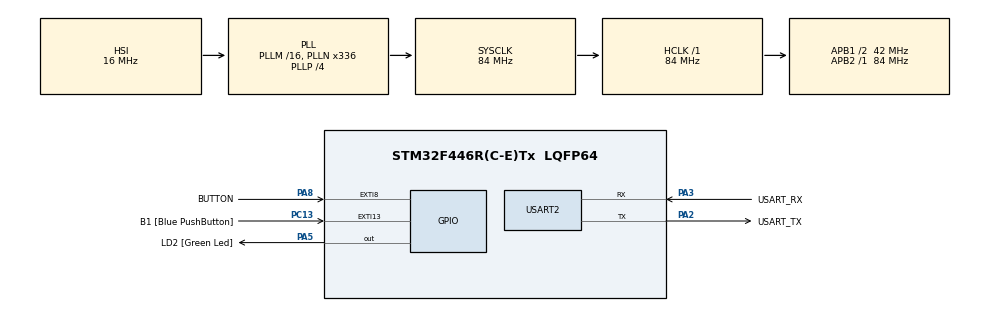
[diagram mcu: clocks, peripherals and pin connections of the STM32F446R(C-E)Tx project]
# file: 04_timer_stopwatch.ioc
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Mcu.Family=STM32F4
Mcu.Name=STM32F446R(C-E)Tx
Mcu.Package=LQFP64
NVIC.EXTI9_5_IRQn=true\:0\:0\:false\:false\:true\:true\:true\:true
NVIC.PriorityGroup=NVIC_PRIORITYGROUP_0
PA13.GPIO_Label=TMS
PA13.Signal=SYS_JTMS-SWDIO
PA14.GPIO_Label=TCK
PA14.Signal=SYS_JTCK-SWCLK
PA2.GPIO_Label=USART_TX
PA2.Mode=Asynchronous
PA2.Signal=USART2_TX
PA3.GPIO_Label=USART_RX
PA3.Mode=Asynchronous
PA3.Signal=USART2_RX
PA5.GPIO_Label=LD2 [Green Led]
PA5.Signal=GPIO_Output
PA8.GPIO_Label=BUTTON
PA8.GPIO_ModeDefaultEXTI=GPIO_MODE_IT_FALLING
PA8.GPIO_PuPd=GPIO_PULLUP
PA8.Signal=GPXTI8
PB3.GPIO_Label=SWO
PB3.Signal=SYS_JTDO-SWO
PC13.GPIO_Label=B1 [Blue PushButton]
PC13.GPIO_ModeDefaultEXTI=GPIO_MODE_IT_FALLING
PC13.Signal=GPXTI13
PC14-OSC32_IN.Signal=RCC_OSC32_IN
PC15-OSC32_OUT.Signal=RCC_OSC32_OUT
PH0-OSC_IN.Signal=RCC_OSC_IN
PH1-OSC_OUT.Signal=RCC_OSC_OUT
ProjectManager.HeapSize=0x200
ProjectManager.StackSize=0x400
ProjectManager.TargetToolchain=STM32CubeIDE
RCC.AHBFreq_Value=84000000
RCC.APB1CLKDivider=RCC_HCLK_DIV2
RCC.APB1Freq_Value=42000000
RCC.APB1TimFreq_Value=84000000
RCC.APB2Freq_Value=84000000
RCC.APB2TimFreq_Value=84000000
RCC.CortexFreq_Value=84000000
RCC.FLatency-AdvancedSettings=FLASH_LATENCY_2
RCC.HCLKFreq_Value=84000000
RCC.HSE_VALUE=8000000
RCC.HSI_VALUE=16000000
RCC.LSE_VALUE=32768
RCC.PLLN=336
RCC.PLLP=RCC_PLLP_DIV4
RCC.SYSCLKFreq_VALUE=84000000
RCC.SYSCLKSource=RCC_SYSCLKSOURCE_PLLCLK
RCC.USBFreq_Value=168000000
RCC.VCOOutputFreq_Value=336000000
TIM2.Prescaler=83
USART2.VirtualMode=VM_ASYNC
VP_TIM2_VS_ClockSourceINT.Mode=Internal
board=NUCLEO-F446RE

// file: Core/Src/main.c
/* USER CODE BEGIN Header */
/**
  ******************************************************************************
  * @file           : main.c
  * @brief          : Main program body
  ******************************************************************************
  * @attention
  *
  * Copyright (c) 2026 STMicroelectronics.
  * All rights reserved.
  *
  * This software is licensed under terms that can be found in the LICENSE file
  * in the root directory of this software component.
  * If no LICENSE file comes with this software, it is provided AS-IS.
  *
  ******************************************************************************
  */
/* USER CODE END Header */
#include "main.h"

/* USER CODE BEGIN Includes */
#include <stdio.h>

/* USER CODE END Includes */

/* USER CODE BEGIN PD */
/* The pin must stay quiet this long after the last edge before the
   main loop trusts its level (20 ms, in TIM2 ticks of 1 us). */
#define DEBOUNCE_US  20000U

/* USER CODE END PD */

TIM_HandleTypeDef htim2;

UART_HandleTypeDef huart2;

/* USER CODE BEGIN PV */
volatile uint8_t  button_event = 0;    /* set by the interrupt */
volatile uint32_t last_edge_us = 0;    /* TIM2 count at the last edge */

uint8_t  running = 0;                  /* 1 while the stopwatch counts */
uint32_t start_us = 0;                 /* TIM2 count at the start press */

/* USER CODE END PV */

void SystemClock_Config(void);
static void MX_GPIO_Init(void);
static void MX_TIM2_Init(void);
static void MX_USART2_UART_Init(void);

int main(void)
{

  /* MCU Configuration--------------------------------------------------------*/

  /* Reset of all peripherals, Initializes the Flash interface and the Systick. */
  HAL_Init();

  /* Configure the system clock */
  SystemClock_Config();

  /* Initialize all configured peripherals */
  MX_GPIO_Init();
  MX_TIM2_Init();
  MX_USART2_UART_Init();
  /* USER CODE BEGIN 2 */
  /* Unbuffered stdout: each printf() goes out right away. */
  setvbuf(stdout, NULL, _IONBF, 0);

  /* TIM2 counts from 0 to 0xFFFFFFFF, one tick per microsecond. */
  HAL_TIM_Base_Start(&htim2);

  printf("\r\nStopwatch ready. Press the button to start.\r\n");

  /* USER CODE END 2 */

  /* Infinite loop */
  while (1)
  {

    /* USER CODE BEGIN 3 */
    uint32_t now_us = __HAL_TIM_GET_COUNTER(&htim2);

    /* Unsigned subtraction gives the right interval even after the
       counter wraps from 0xFFFFFFFF back to 0 (about every 71 min). */
    if (button_event && ((now_us - last_edge_us) >= DEBOUNCE_US))
    {
      button_event = 0;

      if (HAL_GPIO_ReadPin(BUTTON_GPIO_Port, BUTTON_Pin) == GPIO_PIN_RESET)
      {
        /* The last edge is when the contact settled: use it as the
           time of the press, not the moment the debounce ended. */
        uint32_t press_us = last_edge_us;

        if (!running)
        {
          start_us = press_us;
          running = 1;
          HAL_GPIO_WritePin(LD2_GPIO_Port, LD2_Pin, GPIO_PIN_SET);
          printf("Started\r\n");
        }
        else
        {
          uint32_t elapsed_us = press_us - start_us;
          running = 0;
          HAL_GPIO_WritePin(LD2_GPIO_Port, LD2_Pin, GPIO_PIN_RESET);
          printf("Elapsed: %lu.%03lu ms\r\n",
                 elapsed_us / 1000U, elapsed_us % 1000U);
        }
      }
    }
  }
  /* USER CODE END 3 */
}

void SystemClock_Config(void)
{
  RCC_OscInitTypeDef RCC_OscInitStruct = {0};
  RCC_ClkInitTypeDef RCC_ClkInitStruct = {0};

  /** Configure the main internal regulator output voltage
  */
  __HAL_RCC_PWR_CLK_ENABLE();
  __HAL_PWR_VOLTAGESCALING_CONFIG(PWR_REGULATOR_VOLTAGE_SCALE3);

  /** Initializes the RCC Oscillators according to the specified parameters
  * in the RCC_OscInitTypeDef structure.
  */
  RCC_OscInitStruct.OscillatorType = RCC_OSCILLATORTYPE_HSI;
  RCC_OscInitStruct.HSIState = RCC_HSI_ON;
  RCC_OscInitStruct.HSICalibrationValue = RCC_HSICALIBRATION_DEFAULT;
  RCC_OscInitStruct.PLL.PLLState = RCC_PLL_ON;
  RCC_OscInitStruct.PLL.PLLSource = RCC_PLLSOURCE_HSI;
  RCC_OscInitStruct.PLL.PLLM = 16;
  RCC_OscInitStruct.PLL.PLLN = 336;
  RCC_OscInitStruct.PLL.PLLP = RCC_PLLP_DIV4;
  RCC_OscInitStruct.PLL.PLLQ = 2;
  RCC_OscInitStruct.PLL.PLLR = 2;
  if (HAL_RCC_OscConfig(&RCC_OscInitStruct) != HAL_OK)
  {
    Error_Handler();
  }

  /** Initializes the CPU, AHB and APB buses clocks
  */
  RCC_ClkInitStruct.ClockType = RCC_CLOCKTYPE_HCLK|RCC_CLOCKTYPE_SYSCLK
                              |RCC_CLOCKTYPE_PCLK1|RCC_CLOCKTYPE_PCLK2;
  RCC_ClkInitStruct.SYSCLKSource = RCC_SYSCLKSOURCE_PLLCLK;
  RCC_ClkInitStruct.AHBCLKDivider = RCC_SYSCLK_DIV1;
  RCC_ClkInitStruct.APB1CLKDivider = RCC_HCLK_DIV2;
  RCC_ClkInitStruct.APB2CLKDivider = RCC_HCLK_DIV1;

  if (HAL_RCC_ClockConfig(&RCC_ClkInitStruct, FLASH_LATENCY_2) != HAL_OK)
  {
    Error_Handler();
  }
}

static void MX_TIM2_Init(void)
{

  TIM_ClockConfigTypeDef sClockSourceConfig = {0};
  TIM_MasterConfigTypeDef sMasterConfig = {0};

  htim2.Instance = TIM2;
  htim2.Init.Prescaler = 83;
  htim2.Init.CounterMode = TIM_COUNTERMODE_UP;
  htim2.Init.Period = 4294967295;
  htim2.Init.ClockDivision = TIM_CLOCKDIVISION_DIV1;
  htim2.Init.AutoReloadPreload = TIM_AUTORELOAD_PRELOAD_DISABLE;
  if (HAL_TIM_Base_Init(&htim2) != HAL_OK)
  {
    Error_Handler();
  }
  sClockSourceConfig.ClockSource = TIM_CLOCKSOURCE_INTERNAL;
  if (HAL_TIM_ConfigClockSource(&htim2, &sClockSourceConfig) != HAL_OK)
  {
    Error_Handler();
  }
  sMasterConfig.MasterOutputTrigger = TIM_TRGO_RESET;
  sMasterConfig.MasterSlaveMode = TIM_MASTERSLAVEMODE_DISABLE;
  if (HAL_TIMEx_MasterConfigSynchronization(&htim2, &sMasterConfig) != HAL_OK)
  {
    Error_Handler();
  }

}

static void MX_USART2_UART_Init(void)
{

  huart2.Instance = USART2;
  huart2.Init.BaudRate = 115200;
  huart2.Init.WordLength = UART_WORDLENGTH_8B;
  huart2.Init.StopBits = UART_STOPBITS_1;
  huart2.Init.Parity = UART_PARITY_NONE;
  huart2.Init.Mode = UART_MODE_TX_RX;
  huart2.Init.HwFlowCtl = UART_HWCONTROL_NONE;
  huart2.Init.OverSampling = UART_OVERSAMPLING_16;
  if (HAL_UART_Init(&huart2) != HAL_OK)
  {
    Error_Handler();
  }

}

static void MX_GPIO_Init(void)
{
  GPIO_InitTypeDef GPIO_InitStruct = {0};

  /* GPIO Ports Clock Enable */
  __HAL_RCC_GPIOC_CLK_ENABLE();
  __HAL_RCC_GPIOH_CLK_ENABLE();
  __HAL_RCC_GPIOA_CLK_ENABLE();
  __HAL_RCC_GPIOB_CLK_ENABLE();

  /*Configure GPIO pin Output Level */
  HAL_GPIO_WritePin(LD2_GPIO_Port, LD2_Pin, GPIO_PIN_RESET);

  /*Configure GPIO pin : B1_Pin */
  GPIO_InitStruct.Pin = B1_Pin;
  GPIO_InitStruct.Mode = GPIO_MODE_IT_FALLING;
  GPIO_InitStruct.Pull = GPIO_NOPULL;
  HAL_GPIO_Init(B1_GPIO_Port, &GPIO_InitStruct);

  /*Configure GPIO pin : LD2_Pin */
  GPIO_InitStruct.Pin = LD2_Pin;
  GPIO_InitStruct.Mode = GPIO_MODE_OUTPUT_PP;
  GPIO_InitStruct.Pull = GPIO_NOPULL;
  GPIO_InitStruct.Speed = GPIO_SPEED_FREQ_LOW;
  HAL_GPIO_Init(LD2_GPIO_Port, &GPIO_InitStruct);

  /*Configure GPIO pin : BUTTON_Pin */
  GPIO_InitStruct.Pin = BUTTON_Pin;
  GPIO_InitStruct.Mode = GPIO_MODE_IT_FALLING;
  GPIO_InitStruct.Pull = GPIO_PULLUP;
  HAL_GPIO_Init(BUTTON_GPIO_Port, &GPIO_InitStruct);

  /* EXTI interrupt init*/
  HAL_NVIC_SetPriority(EXTI9_5_IRQn, 0, 0);
  HAL_NVIC_EnableIRQ(EXTI9_5_IRQn);

}

/* USER CODE BEGIN 4 */
/* printf() ends up here, one character at a time (the _write() in
   syscalls.c calls __io_putchar()). Send each one through USART2. */
int __io_putchar(int ch)
{
  HAL_UART_Transmit(&huart2, (uint8_t *)&ch, 1, HAL_MAX_DELAY);
  return ch;
}

/* Runs on every falling edge of PA8: just record when it happened. */
void HAL_GPIO_EXTI_Callback(uint16_t GPIO_Pin)
{
  if (GPIO_Pin == BUTTON_Pin)
  {
    last_edge_us = __HAL_TIM_GET_COUNTER(&htim2);
    button_event = 1;
  }
}

/* USER CODE END 4 */

void Error_Handler(void)
{
  __disable_irq();
  while (1)
  {
  }
}
